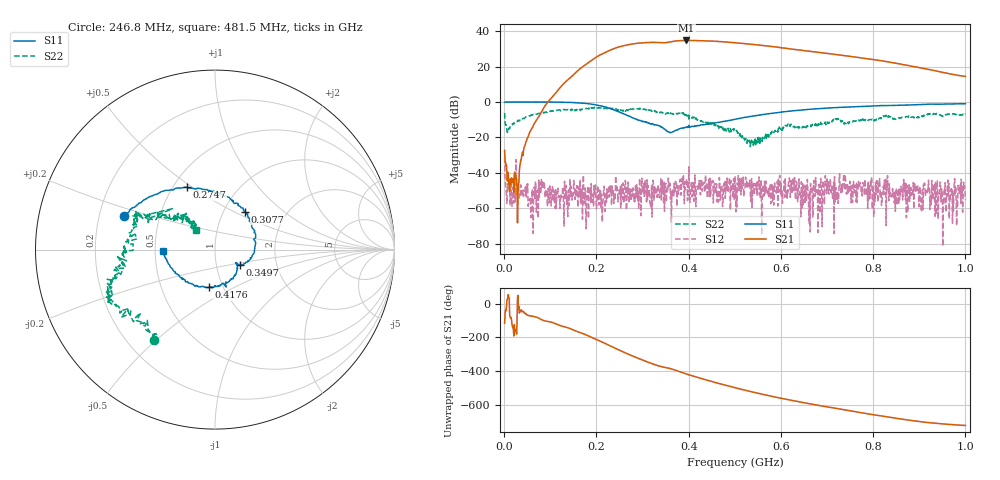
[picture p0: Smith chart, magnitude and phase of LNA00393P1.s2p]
! Created with skrf 1.9.0 (http://scikit-rf.org).
# Hz S RI R 50.0
!freq ReS11 ImS11 ReS21 ImS21 ReS12 ImS12 ReS22 ImS22
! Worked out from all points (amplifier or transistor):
!   1001 points, 1 MHz to 1 GHz, reference 50 ohm
!   highest |S21| = 34.8 dB at 394.6 MHz (marker M1)
!   |S21| within 3 dB of that: 259 MHz to 565.9 MHz (306.9 MHz wide, 74.4 % of centre)
!   unconditionally stable (mu >= 1): 242.3 MHz to 293.5 MHz; 298.9 MHz to 388.6 MHz; 400.8 MHz to end of sweep (the widest 3 of 32)
!   at 166.8 MHz: K = 1.34, MAG = 30.7 dB, |S12| = -49.1 dB
!   at 500.5 MHz: K = 1.27, MAG = 34.6 dB, |S12| = -41.9 dB
!   at 1 GHz: K = 8.57, MAG = 22.7 dB, |S12| = -55.5 dB
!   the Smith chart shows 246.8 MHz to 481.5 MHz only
!   S11 on the Smith chart (normalised r, x): 246.8 MHz: 0.31, +0.16; 274.7 MHz: 0.59, +0.48; 307.7 MHz: 1.26, +0.57; 349.7 MHz: 1.30, -0.23; 417.6 MHz: 0.85, -0.38; 481.5 MHz: 0.55, -0.01
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1000000  0.9878 0.000712  -0.0192 -0.0387  -0.0251 0.00954  0.3295 0.3608
1.09891e8  0.5156 -0.8512  -0.784 -1.492  0.00191 -0.00212  0.449 -0.3713
1.67833e8  -0.2212 -0.9042  -9.424 -0.8096  -0.000977 -0.00154  0.0494 -0.6268
2.11789e8  -0.6774 -0.3635  -15.35 16.91  -0.00181 -0.000354  -0.1827 -0.6508
2.28772e8  -0.6583 -0.0748  -9.813 26.97  -0.000811 -0.00277  -0.2551 -0.6332
2.46754e8  -0.5066 0.187  1.73 35.5  0.000742 -0.00131  -0.34 -0.501
2.74726e8  -0.1565 0.3474  25.97 34.36  0.000604 0.00149  -0.5209 -0.3461
3.07693e8  0.1675 0.2115  46.1 13.67  -0.00214 0.00206  -0.5743 -0.1756
3.34666e8  0.2165 -0.0222  47.38 -8.165  -0.00244 0.00241  -0.5198 -0.0519
3.49651e8  0.1407 -0.0875  44.94 -16  -0.000843 0.00456  -0.4568 -0.0049
3.7063e8  0.1244 -0.0908  43.39 -30.68  -0.00151 0.00356  -0.4404 0.1403
3.94606e8  0.075 -0.179  29.52 -46.56  0.00214 0.00367  -0.3953 0.1953
4.17583e8  -0.036 -0.2101  12.02 -53.26  0.00041 0.00334  -0.2559 0.1967
4.46554e8  -0.1843 -0.1642  -9.343 -52.34  0.00311 0.00626  -0.1911 0.1761
4.81519e8  -0.2895 -0.00719  -29.63 -40.12  0.00378 -0.0038  -0.1077 0.1083
5.005e8  -0.3131 0.0955  -36.55 -30.81  0.000591 0.00805  -0.0902 0.1312
5.4046e8  -0.2512 0.3139  -41.15 -9.901  0.00256 -0.00285  -0.059 0.00957
5.88412e8  -0.0592 0.4916  -34.72 9.95  0.000904 -0.00279  -0.1309 -0.0697
6.67333e8  0.3164 0.5422  -14.11 22.53  0.00149 0.0033  -0.2148 -0.0285
7.53247e8  0.6258 0.3767  2.932 19.03  -0.00152 -0.00355  -0.2695 0.00365
8.34166e8  0.7842 0.1463  9.514 9.618  -0.00142 -0.000793  -0.3809 0.0323
1e9  0.8107 -0.3871  5.281 -0.385  -0.00156 -0.000587  -0.3054 0.3499
